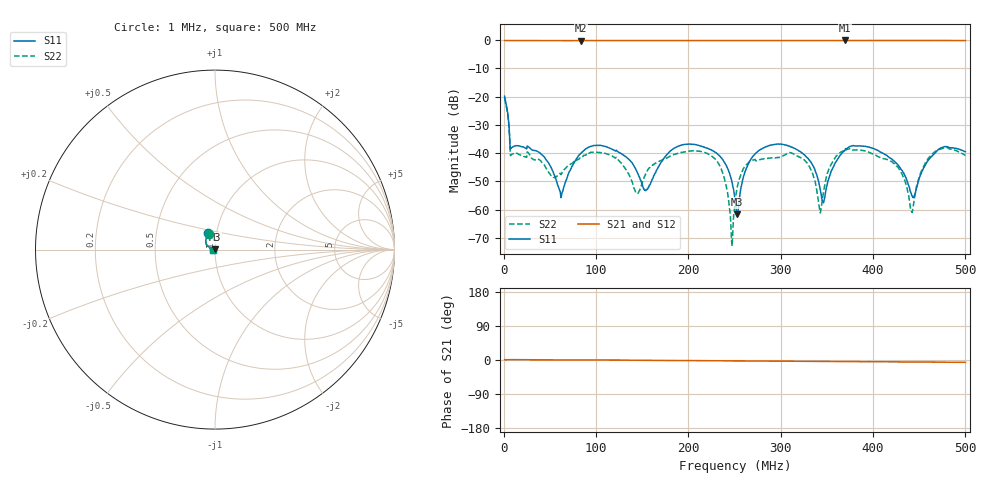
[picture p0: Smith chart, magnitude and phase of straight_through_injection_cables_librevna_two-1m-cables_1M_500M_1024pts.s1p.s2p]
# GHZ S RI R 50.000000000000
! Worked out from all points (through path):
!   1024 points, 1 MHz to 500 MHz, reference 50 ohm
!   highest |S21| = -0.09 dB at 369.8 MHz (marker M1); lowest = -0.2 dB at 83.92 MHz (marker M2)
!   lowest |S11| = -61.7 dB at 252.7 MHz (marker M3), VSWR 1.00, Z = 50 + j0.0682 ohm
!   |S11| at or under -10 dB: start of sweep to end of sweep
!   |S22| runs from -73.0 to -20.5 dB; largest |S21 - S12| = 0.017
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0.001  -0.0394 0.0939  0.9867 0.0177  0.9768 0.00363  -0.0325 0.0892
0.009292277  -0.00623 0.011  0.9859 0.0156  0.985 0.0083  -0.0074 0.00618
0.04148583  0.00759 0.00543  0.9836 0.00703  0.9844 -0.00134  0.00473 0.00493
0.06148485  0.000864 -0.00172  0.9834 0.00285  0.9845 -0.00461  0.000995 -0.00423
0.08392278  -0.00984 0.00225  0.9824 0.000312  0.9838 -0.00438  -0.00835 -0.00222
0.08441056  -0.00996 0.00253  0.9824 0.000769  0.9838 -0.00491  -0.00833 -0.00199
0.1214819  6.37e-06 0.0111  0.9873 -0.00799  0.9867 -0.0149  -0.00239 0.00801
0.1448954  0.00407 0.00187  0.9859 -0.0156  0.9861 -0.0244  0.00193 -0.000325
0.1678211  -0.00514 -0.00284  0.9852 -0.0234  0.9852 -0.0304  -0.00308 -0.0064
0.2224526  0.000127 0.0118  0.9851 -0.0317  0.9852 -0.0411  -0.0027 0.00904
0.2375738  0.00313 0.00684  0.985 -0.0358  0.9856 -0.0456  9.17e-06 0.0043
0.2468416  0.00157 0.00292  0.9851 -0.0388  0.9855 -0.0472  -0.000187 0.000194
0.2507439  0.000259 0.00136  0.9853 -0.0401  0.9856 -0.0474  -0.000659 -0.00132
0.252695  -0.000456 0.000682  0.9854 -0.0407  0.9855 -0.048  -0.000927 -0.00212
0.2785474  -0.0117 -0.000142  0.9839 -0.0476  0.9845 -0.0553  -0.0068 -0.00372
0.3341544  5.25e-05 0.00635  0.9849 -0.0587  0.9855 -0.0664  -0.000918 0.00438
0.346349  -0.00124 0.000443  0.9861 -0.0626  0.9863 -0.0696  -0.00161 -0.00126
0.3697625  -0.00936 -0.00643  0.9874 -0.0703  0.9873 -0.0771  -0.00754 -0.00827
0.4170772  -0.00554 0.0064  0.9836 -0.0823  0.9843 -0.0888  -0.00514 0.00554
0.4419541  -0.0014 0.00109  0.9841 -0.0895  0.9848 -0.0954  -0.000912 7.61e-05
0.4629286  -0.00598 -0.00623  0.9843 -0.0974  0.9851 -0.102  -0.00569 -0.00723
0.5  -0.0106 -0.000151  0.9799 -0.1045  0.981 -0.1099  -0.00914 -0.000611
